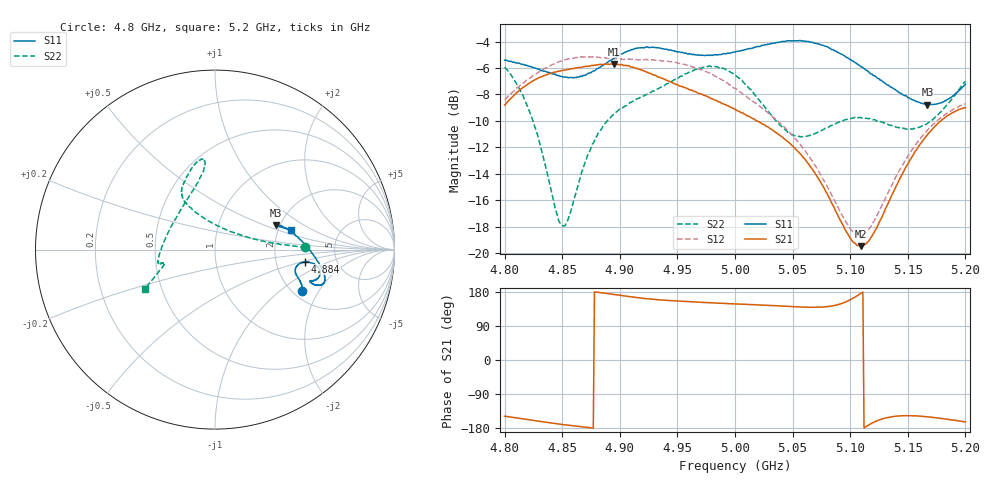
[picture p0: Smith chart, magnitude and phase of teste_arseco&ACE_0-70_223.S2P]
! Network Analyzer HP8722D
! Hewlett-Packard
! Data name: Linha & Wilkinson
! Saver's name: Rodrigo Anjos
! Comments: Teste da utilização de aquisição
! continua pelo VNA HP8722D
! Time and date: 8/5/2025 14:37
!  Frequency  S11  S21  S12  S22
# HZ  S  MA R 50
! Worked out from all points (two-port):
!   401 points, 4.8 GHz to 5.2 GHz, reference 50 ohm
!   highest |S21| = -5.69 dB at 4.895 GHz (marker M1); lowest = -19.5 dB at 5.109 GHz (marker M2)
!   |S21| within 3 dB of the highest: 4.801 GHz to 4.989 GHz (187.8 MHz wide, 3.84 % of centre)
!   lowest |S11| = -8.8 dB at 5.167 GHz (marker M3), VSWR 2.15, Z = 94.7 + j30.1 ohm
!   |S11| at or under -10 dB: nowhere
!   |S22| runs from -17.9 to -5.8 dB; largest |S21 - S12| = 1.1
!   S11 on the Smith chart (normalised r, x): 4.8 GHz: 2.24, -1.44; 4.884 GHz: 2.96, -0.53; 5.2 GHz: 2.33, +0.64
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4.8e9  0.5358 -25.3  0.3627 -148.6  0.3808 10.7  0.5044 1.6
4.812e9  0.5232 -22.3  0.4092 -153.4  0.4261 9.2  0.4249 2.7
4.823e9  0.5068 -20.3  0.4438 -158.3  0.4623 7.6  0.3302 6.1
4.849e9  0.4656 -16.3  0.4903 -169.8  0.5325 3.4  0.128 57.9
4.855e9  0.4608 -14.3  0.4947 -172.0  0.5425 2.4  0.1335 84.8
4.867e9  0.4654 -11.0  0.5049 -176.3  0.5523 0.7  0.203 112.5
4.884e9  0.5078 -7.6  0.5173 177.5  0.5463 -0.6  0.2942 121.9
4.895e9  0.5466 -8.0  0.5193 172.8  0.5427 -0.6  0.3346 121.8
4.915e9  0.5945 -11.3  0.499 164.7  0.5389 -0.2  0.3828 119.1
4.934e9  0.5972 -15.4  0.4625 158.9  0.5359 -1.2  0.4201 113.1
4.976e9  0.5612 -18.5  0.391 151.5  0.4833 -4.8  0.5071 99.1
5e9  0.5761 -19.3  0.3497 147.8  0.42 -5.0  0.4719 97.2
5.018e9  0.6017 -19.2  0.3178 145.9  0.3689 -2.0  0.3928 103.6
5.044e9  0.633 -17.3  0.268 141.8  0.2959 3.1  0.2918 131.1
5.067e9  0.6259 -13.2  0.2085 139.1  0.2234 9.5  0.2804 164.3
5.098e9  0.5471 -2.7  0.1183 155.8  0.1276 36.6  0.3205 -170.5
5.109e9  0.5082 2.2  0.1063 175.1  0.1167 58.2  0.326 -167.0
5.118e9  0.476 6.6  0.1146 -168.1  0.1262 76.0  0.3207 -165.9
5.134e9  0.4283 14.3  0.1582 -150.8  0.1731 94.8  0.3047 -165.6
5.167e9  0.3645 22.2  0.28 -150.0  0.2915 102.7  0.3093 -161.4
5.182e9  0.3758 20.3  0.3253 -155.5  0.3331 102.9  0.3554 -156.9
5.2e9  0.4352 14.8  0.3554 -163.3  0.3675 103.2  0.4466 -150.5
